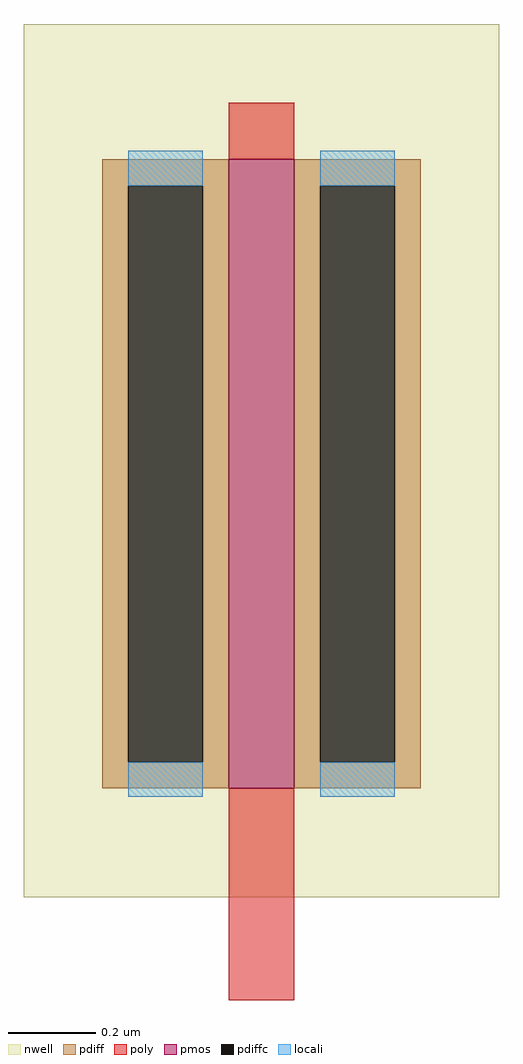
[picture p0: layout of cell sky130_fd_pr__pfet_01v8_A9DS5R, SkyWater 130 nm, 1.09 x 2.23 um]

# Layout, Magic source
magic
tech sky130A
magscale 1 2
<< nwell >>
rect -109 -86 109 314
<< pmos >>
rect -15 -36 15 252
<< pdiff >>
rect -73 240 -15 252
rect -73 -24 -61 240
rect -27 -24 -15 240
rect -73 -36 -15 -24
rect 15 240 73 252
rect 15 -24 27 240
rect 61 -24 73 240
rect 15 -36 73 -24
<< pdiffc >>
rect -61 -24 -27 240
rect 27 -24 61 240
<< poly >>
rect -15 252 15 278
rect -15 -133 15 -36
<< locali >>
rect -61 240 -27 256
rect -61 -40 -27 -24
rect 27 240 61 256
rect 27 -40 61 -24
<< properties >>
string gencell sky130_fd_pr__pfet_01v8
string library sky130
string parameters w 0.72 l 0.15 m 1 nf 1 diffcov 100 polycov 100 guard 0 glc 0 grc 0 gtc 0 gbc 0 tbcov 100 rlcov 100 topc 0 botc 1 poverlap 0 doverlap 1 lmin 0.15 wmin 0.42 compatible {sky130_fd_pr__pfet_01v8  sky130_fd_pr__pfet_01v8_lvt sky130_fd_pr__pfet_01v8_hvt  sky130_fd_pr__pfet_g5v0d10v5} full_metal 0 viasrc 100 viadrn 100 viagate 100 viagb 0 viagr 0 viagl 0 viagt 0
<< end >>
